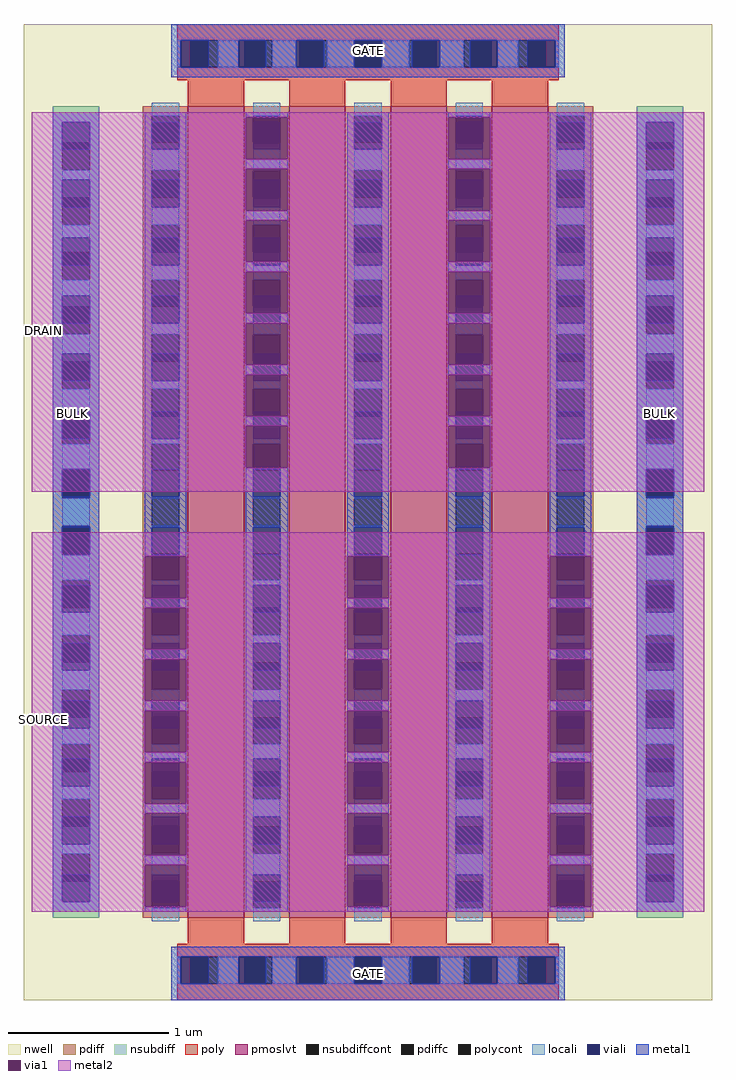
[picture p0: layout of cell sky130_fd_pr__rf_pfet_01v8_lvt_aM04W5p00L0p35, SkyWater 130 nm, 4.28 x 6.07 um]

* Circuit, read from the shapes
.subckt sky130_fd_pr__rf_pfet_01v8_lvt_aM04W5p00L0p35 BULK DRAIN GATE SOURCE
XM1 DRAIN GATE SOURCE BULK sky130_fd_pr__pfet_01v8_lvt w=5.05 l=0.35 m=4
.ends

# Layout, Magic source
magic
tech sky130A
magscale 1 2
<< nwell >>
rect 0 0 856 1214
<< pmoslvt >>
rect 204 102 274 1112
rect 330 102 400 1112
rect 456 102 526 1112
rect 582 102 652 1112
<< pdiff >>
rect 148 1100 204 1112
rect 148 1066 159 1100
rect 193 1066 204 1100
rect 148 1032 204 1066
rect 148 998 159 1032
rect 193 998 204 1032
rect 148 964 204 998
rect 148 930 159 964
rect 193 930 204 964
rect 148 896 204 930
rect 148 862 159 896
rect 193 862 204 896
rect 148 828 204 862
rect 148 794 159 828
rect 193 794 204 828
rect 148 760 204 794
rect 148 726 159 760
rect 193 726 204 760
rect 148 692 204 726
rect 148 658 159 692
rect 193 658 204 692
rect 148 624 204 658
rect 148 590 159 624
rect 193 590 204 624
rect 148 556 204 590
rect 148 522 159 556
rect 193 522 204 556
rect 148 488 204 522
rect 148 454 159 488
rect 193 454 204 488
rect 148 420 204 454
rect 148 386 159 420
rect 193 386 204 420
rect 148 352 204 386
rect 148 318 159 352
rect 193 318 204 352
rect 148 284 204 318
rect 148 250 159 284
rect 193 250 204 284
rect 148 216 204 250
rect 148 182 159 216
rect 193 182 204 216
rect 148 148 204 182
rect 148 114 159 148
rect 193 114 204 148
rect 148 102 204 114
rect 274 1100 330 1112
rect 274 1066 285 1100
rect 319 1066 330 1100
rect 274 1032 330 1066
rect 274 998 285 1032
rect 319 998 330 1032
rect 274 964 330 998
rect 274 930 285 964
rect 319 930 330 964
rect 274 896 330 930
rect 274 862 285 896
rect 319 862 330 896
rect 274 828 330 862
rect 274 794 285 828
rect 319 794 330 828
rect 274 760 330 794
rect 274 726 285 760
rect 319 726 330 760
rect 274 692 330 726
rect 274 658 285 692
rect 319 658 330 692
rect 274 624 330 658
rect 274 590 285 624
rect 319 590 330 624
rect 274 556 330 590
rect 274 522 285 556
rect 319 522 330 556
rect 274 488 330 522
rect 274 454 285 488
rect 319 454 330 488
rect 274 420 330 454
rect 274 386 285 420
rect 319 386 330 420
rect 274 352 330 386
rect 274 318 285 352
rect 319 318 330 352
rect 274 284 330 318
rect 274 250 285 284
rect 319 250 330 284
rect 274 216 330 250
rect 274 182 285 216
rect 319 182 330 216
rect 274 148 330 182
rect 274 114 285 148
rect 319 114 330 148
rect 274 102 330 114
rect 400 1100 456 1112
rect 400 1066 411 1100
rect 445 1066 456 1100
rect 400 1032 456 1066
rect 400 998 411 1032
rect 445 998 456 1032
rect 400 964 456 998
rect 400 930 411 964
rect 445 930 456 964
rect 400 896 456 930
rect 400 862 411 896
rect 445 862 456 896
rect 400 828 456 862
rect 400 794 411 828
rect 445 794 456 828
rect 400 760 456 794
rect 400 726 411 760
rect 445 726 456 760
rect 400 692 456 726
rect 400 658 411 692
rect 445 658 456 692
rect 400 624 456 658
rect 400 590 411 624
rect 445 590 456 624
rect 400 556 456 590
rect 400 522 411 556
rect 445 522 456 556
rect 400 488 456 522
rect 400 454 411 488
rect 445 454 456 488
rect 400 420 456 454
rect 400 386 411 420
rect 445 386 456 420
rect 400 352 456 386
rect 400 318 411 352
rect 445 318 456 352
rect 400 284 456 318
rect 400 250 411 284
rect 445 250 456 284
rect 400 216 456 250
rect 400 182 411 216
rect 445 182 456 216
rect 400 148 456 182
rect 400 114 411 148
rect 445 114 456 148
rect 400 102 456 114
rect 526 1100 582 1112
rect 526 1066 537 1100
rect 571 1066 582 1100
rect 526 1032 582 1066
rect 526 998 537 1032
rect 571 998 582 1032
rect 526 964 582 998
rect 526 930 537 964
rect 571 930 582 964
rect 526 896 582 930
rect 526 862 537 896
rect 571 862 582 896
rect 526 828 582 862
rect 526 794 537 828
rect 571 794 582 828
rect 526 760 582 794
rect 526 726 537 760
rect 571 726 582 760
rect 526 692 582 726
rect 526 658 537 692
rect 571 658 582 692
rect 526 624 582 658
rect 526 590 537 624
rect 571 590 582 624
rect 526 556 582 590
rect 526 522 537 556
rect 571 522 582 556
rect 526 488 582 522
rect 526 454 537 488
rect 571 454 582 488
rect 526 420 582 454
rect 526 386 537 420
rect 571 386 582 420
rect 526 352 582 386
rect 526 318 537 352
rect 571 318 582 352
rect 526 284 582 318
rect 526 250 537 284
rect 571 250 582 284
rect 526 216 582 250
rect 526 182 537 216
rect 571 182 582 216
rect 526 148 582 182
rect 526 114 537 148
rect 571 114 582 148
rect 526 102 582 114
rect 652 1100 708 1112
rect 652 1066 663 1100
rect 697 1066 708 1100
rect 652 1032 708 1066
rect 652 998 663 1032
rect 697 998 708 1032
rect 652 964 708 998
rect 652 930 663 964
rect 697 930 708 964
rect 652 896 708 930
rect 652 862 663 896
rect 697 862 708 896
rect 652 828 708 862
rect 652 794 663 828
rect 697 794 708 828
rect 652 760 708 794
rect 652 726 663 760
rect 697 726 708 760
rect 652 692 708 726
rect 652 658 663 692
rect 697 658 708 692
rect 652 624 708 658
rect 652 590 663 624
rect 697 590 708 624
rect 652 556 708 590
rect 652 522 663 556
rect 697 522 708 556
rect 652 488 708 522
rect 652 454 663 488
rect 697 454 708 488
rect 652 420 708 454
rect 652 386 663 420
rect 697 386 708 420
rect 652 352 708 386
rect 652 318 663 352
rect 697 318 708 352
rect 652 284 708 318
rect 652 250 663 284
rect 697 250 708 284
rect 652 216 708 250
rect 652 182 663 216
rect 697 182 708 216
rect 652 148 708 182
rect 652 114 663 148
rect 697 114 708 148
rect 652 102 708 114
<< pdiffc >>
rect 159 1066 193 1100
rect 159 998 193 1032
rect 159 930 193 964
rect 159 862 193 896
rect 159 794 193 828
rect 159 726 193 760
rect 159 658 193 692
rect 159 590 193 624
rect 159 522 193 556
rect 159 454 193 488
rect 159 386 193 420
rect 159 318 193 352
rect 159 250 193 284
rect 159 182 193 216
rect 159 114 193 148
rect 285 1066 319 1100
rect 285 998 319 1032
rect 285 930 319 964
rect 285 862 319 896
rect 285 794 319 828
rect 285 726 319 760
rect 285 658 319 692
rect 285 590 319 624
rect 285 522 319 556
rect 285 454 319 488
rect 285 386 319 420
rect 285 318 319 352
rect 285 250 319 284
rect 285 182 319 216
rect 285 114 319 148
rect 411 1066 445 1100
rect 411 998 445 1032
rect 411 930 445 964
rect 411 862 445 896
rect 411 794 445 828
rect 411 726 445 760
rect 411 658 445 692
rect 411 590 445 624
rect 411 522 445 556
rect 411 454 445 488
rect 411 386 445 420
rect 411 318 445 352
rect 411 250 445 284
rect 411 182 445 216
rect 411 114 445 148
rect 537 1066 571 1100
rect 537 998 571 1032
rect 537 930 571 964
rect 537 862 571 896
rect 537 794 571 828
rect 537 726 571 760
rect 537 658 571 692
rect 537 590 571 624
rect 537 522 571 556
rect 537 454 571 488
rect 537 386 571 420
rect 537 318 571 352
rect 537 250 571 284
rect 537 182 571 216
rect 537 114 571 148
rect 663 1066 697 1100
rect 663 998 697 1032
rect 663 930 697 964
rect 663 862 697 896
rect 663 794 697 828
rect 663 726 697 760
rect 663 658 697 692
rect 663 590 697 624
rect 663 522 697 556
rect 663 454 697 488
rect 663 386 697 420
rect 663 318 697 352
rect 663 250 697 284
rect 663 182 697 216
rect 663 114 697 148
<< nsubdiff >>
rect 36 1066 94 1112
rect 36 1032 48 1066
rect 82 1032 94 1066
rect 36 998 94 1032
rect 36 964 48 998
rect 82 964 94 998
rect 36 930 94 964
rect 36 896 48 930
rect 82 896 94 930
rect 36 862 94 896
rect 36 828 48 862
rect 82 828 94 862
rect 36 794 94 828
rect 36 760 48 794
rect 82 760 94 794
rect 36 726 94 760
rect 36 692 48 726
rect 82 692 94 726
rect 36 658 94 692
rect 36 624 48 658
rect 82 624 94 658
rect 36 590 94 624
rect 36 556 48 590
rect 82 556 94 590
rect 36 522 94 556
rect 36 488 48 522
rect 82 488 94 522
rect 36 454 94 488
rect 36 420 48 454
rect 82 420 94 454
rect 36 386 94 420
rect 36 352 48 386
rect 82 352 94 386
rect 36 318 94 352
rect 36 284 48 318
rect 82 284 94 318
rect 36 250 94 284
rect 36 216 48 250
rect 82 216 94 250
rect 36 182 94 216
rect 36 148 48 182
rect 82 148 94 182
rect 36 102 94 148
rect 762 1066 820 1112
rect 762 1032 774 1066
rect 808 1032 820 1066
rect 762 998 820 1032
rect 762 964 774 998
rect 808 964 820 998
rect 762 930 820 964
rect 762 896 774 930
rect 808 896 820 930
rect 762 862 820 896
rect 762 828 774 862
rect 808 828 820 862
rect 762 794 820 828
rect 762 760 774 794
rect 808 760 820 794
rect 762 726 820 760
rect 762 692 774 726
rect 808 692 820 726
rect 762 658 820 692
rect 762 624 774 658
rect 808 624 820 658
rect 762 590 820 624
rect 762 556 774 590
rect 808 556 820 590
rect 762 522 820 556
rect 762 488 774 522
rect 808 488 820 522
rect 762 454 820 488
rect 762 420 774 454
rect 808 420 820 454
rect 762 386 820 420
rect 762 352 774 386
rect 808 352 820 386
rect 762 318 820 352
rect 762 284 774 318
rect 808 284 820 318
rect 762 250 820 284
rect 762 216 774 250
rect 808 216 820 250
rect 762 182 820 216
rect 762 148 774 182
rect 808 148 820 182
rect 762 102 820 148
<< nsubdiffcont >>
rect 48 1032 82 1066
rect 48 964 82 998
rect 48 896 82 930
rect 48 828 82 862
rect 48 760 82 794
rect 48 692 82 726
rect 48 624 82 658
rect 48 556 82 590
rect 48 488 82 522
rect 48 420 82 454
rect 48 352 82 386
rect 48 284 82 318
rect 48 216 82 250
rect 48 148 82 182
rect 774 1032 808 1066
rect 774 964 808 998
rect 774 896 808 930
rect 774 828 808 862
rect 774 760 808 794
rect 774 692 808 726
rect 774 624 808 658
rect 774 556 808 590
rect 774 488 808 522
rect 774 420 808 454
rect 774 352 808 386
rect 774 284 808 318
rect 774 216 808 250
rect 774 148 808 182
<< poly >>
rect 191 1194 665 1214
rect 191 1160 207 1194
rect 241 1160 275 1194
rect 309 1160 343 1194
rect 377 1160 411 1194
rect 445 1160 479 1194
rect 513 1160 547 1194
rect 581 1160 615 1194
rect 649 1160 665 1194
rect 191 1144 665 1160
rect 204 1112 274 1144
rect 330 1112 400 1144
rect 456 1112 526 1144
rect 582 1112 652 1144
rect 204 70 274 102
rect 330 70 400 102
rect 456 70 526 102
rect 582 70 652 102
rect 191 54 665 70
rect 191 20 207 54
rect 241 20 275 54
rect 309 20 343 54
rect 377 20 411 54
rect 445 20 479 54
rect 513 20 547 54
rect 581 20 615 54
rect 649 20 665 54
rect 191 0 665 20
<< polycont >>
rect 207 1160 241 1194
rect 275 1160 309 1194
rect 343 1160 377 1194
rect 411 1160 445 1194
rect 479 1160 513 1194
rect 547 1160 581 1194
rect 615 1160 649 1194
rect 207 20 241 54
rect 275 20 309 54
rect 343 20 377 54
rect 411 20 445 54
rect 479 20 513 54
rect 547 20 581 54
rect 615 20 649 54
<< locali >>
rect 191 1160 195 1194
rect 241 1160 267 1194
rect 309 1160 339 1194
rect 377 1160 411 1194
rect 445 1160 479 1194
rect 517 1160 547 1194
rect 589 1160 615 1194
rect 661 1160 665 1194
rect 159 1100 193 1116
rect 48 1020 82 1032
rect 48 948 82 964
rect 48 876 82 896
rect 48 804 82 828
rect 48 732 82 760
rect 48 660 82 692
rect 48 590 82 624
rect 48 522 82 554
rect 48 454 82 482
rect 48 386 82 410
rect 48 318 82 338
rect 48 250 82 266
rect 48 182 82 194
rect 159 1032 193 1058
rect 159 964 193 986
rect 159 896 193 914
rect 159 828 193 842
rect 159 760 193 770
rect 159 692 193 698
rect 159 624 193 626
rect 159 588 193 590
rect 159 516 193 522
rect 159 444 193 454
rect 159 372 193 386
rect 159 300 193 318
rect 159 228 193 250
rect 159 156 193 182
rect 159 98 193 114
rect 285 1100 319 1116
rect 285 1032 319 1058
rect 285 964 319 986
rect 285 896 319 914
rect 285 828 319 842
rect 285 760 319 770
rect 285 692 319 698
rect 285 624 319 626
rect 285 588 319 590
rect 285 516 319 522
rect 285 444 319 454
rect 285 372 319 386
rect 285 300 319 318
rect 285 228 319 250
rect 285 156 319 182
rect 285 98 319 114
rect 411 1100 445 1116
rect 411 1032 445 1058
rect 411 964 445 986
rect 411 896 445 914
rect 411 828 445 842
rect 411 760 445 770
rect 411 692 445 698
rect 411 624 445 626
rect 411 588 445 590
rect 411 516 445 522
rect 411 444 445 454
rect 411 372 445 386
rect 411 300 445 318
rect 411 228 445 250
rect 411 156 445 182
rect 411 98 445 114
rect 537 1100 571 1116
rect 537 1032 571 1058
rect 537 964 571 986
rect 537 896 571 914
rect 537 828 571 842
rect 537 760 571 770
rect 537 692 571 698
rect 537 624 571 626
rect 537 588 571 590
rect 537 516 571 522
rect 537 444 571 454
rect 537 372 571 386
rect 537 300 571 318
rect 537 228 571 250
rect 537 156 571 182
rect 537 98 571 114
rect 663 1100 697 1116
rect 663 1032 697 1058
rect 663 964 697 986
rect 663 896 697 914
rect 663 828 697 842
rect 663 760 697 770
rect 663 692 697 698
rect 663 624 697 626
rect 663 588 697 590
rect 663 516 697 522
rect 663 444 697 454
rect 663 372 697 386
rect 663 300 697 318
rect 663 228 697 250
rect 663 156 697 182
rect 774 1020 808 1032
rect 774 948 808 964
rect 774 876 808 896
rect 774 804 808 828
rect 774 732 808 760
rect 774 660 808 692
rect 774 590 808 624
rect 774 522 808 554
rect 774 454 808 482
rect 774 386 808 410
rect 774 318 808 338
rect 774 250 808 266
rect 774 182 808 194
rect 663 98 697 114
rect 191 20 195 54
rect 241 20 267 54
rect 309 20 339 54
rect 377 20 411 54
rect 445 20 479 54
rect 517 20 547 54
rect 589 20 615 54
rect 661 20 665 54
<< viali >>
rect 195 1160 207 1194
rect 207 1160 229 1194
rect 267 1160 275 1194
rect 275 1160 301 1194
rect 339 1160 343 1194
rect 343 1160 373 1194
rect 411 1160 445 1194
rect 483 1160 513 1194
rect 513 1160 517 1194
rect 555 1160 581 1194
rect 581 1160 589 1194
rect 627 1160 649 1194
rect 649 1160 661 1194
rect 48 1066 82 1092
rect 48 1058 82 1066
rect 48 998 82 1020
rect 48 986 82 998
rect 48 930 82 948
rect 48 914 82 930
rect 48 862 82 876
rect 48 842 82 862
rect 48 794 82 804
rect 48 770 82 794
rect 48 726 82 732
rect 48 698 82 726
rect 48 658 82 660
rect 48 626 82 658
rect 48 556 82 588
rect 48 554 82 556
rect 48 488 82 516
rect 48 482 82 488
rect 48 420 82 444
rect 48 410 82 420
rect 48 352 82 372
rect 48 338 82 352
rect 48 284 82 300
rect 48 266 82 284
rect 48 216 82 228
rect 48 194 82 216
rect 48 148 82 156
rect 48 122 82 148
rect 159 1066 193 1092
rect 159 1058 193 1066
rect 159 998 193 1020
rect 159 986 193 998
rect 159 930 193 948
rect 159 914 193 930
rect 159 862 193 876
rect 159 842 193 862
rect 159 794 193 804
rect 159 770 193 794
rect 159 726 193 732
rect 159 698 193 726
rect 159 658 193 660
rect 159 626 193 658
rect 159 556 193 588
rect 159 554 193 556
rect 159 488 193 516
rect 159 482 193 488
rect 159 420 193 444
rect 159 410 193 420
rect 159 352 193 372
rect 159 338 193 352
rect 159 284 193 300
rect 159 266 193 284
rect 159 216 193 228
rect 159 194 193 216
rect 159 148 193 156
rect 159 122 193 148
rect 285 1066 319 1092
rect 285 1058 319 1066
rect 285 998 319 1020
rect 285 986 319 998
rect 285 930 319 948
rect 285 914 319 930
rect 285 862 319 876
rect 285 842 319 862
rect 285 794 319 804
rect 285 770 319 794
rect 285 726 319 732
rect 285 698 319 726
rect 285 658 319 660
rect 285 626 319 658
rect 285 556 319 588
rect 285 554 319 556
rect 285 488 319 516
rect 285 482 319 488
rect 285 420 319 444
rect 285 410 319 420
rect 285 352 319 372
rect 285 338 319 352
rect 285 284 319 300
rect 285 266 319 284
rect 285 216 319 228
rect 285 194 319 216
rect 285 148 319 156
rect 285 122 319 148
rect 411 1066 445 1092
rect 411 1058 445 1066
rect 411 998 445 1020
rect 411 986 445 998
rect 411 930 445 948
rect 411 914 445 930
rect 411 862 445 876
rect 411 842 445 862
rect 411 794 445 804
rect 411 770 445 794
rect 411 726 445 732
rect 411 698 445 726
rect 411 658 445 660
rect 411 626 445 658
rect 411 556 445 588
rect 411 554 445 556
rect 411 488 445 516
rect 411 482 445 488
rect 411 420 445 444
rect 411 410 445 420
rect 411 352 445 372
rect 411 338 445 352
rect 411 284 445 300
rect 411 266 445 284
rect 411 216 445 228
rect 411 194 445 216
rect 411 148 445 156
rect 411 122 445 148
rect 537 1066 571 1092
rect 537 1058 571 1066
rect 537 998 571 1020
rect 537 986 571 998
rect 537 930 571 948
rect 537 914 571 930
rect 537 862 571 876
rect 537 842 571 862
rect 537 794 571 804
rect 537 770 571 794
rect 537 726 571 732
rect 537 698 571 726
rect 537 658 571 660
rect 537 626 571 658
rect 537 556 571 588
rect 537 554 571 556
rect 537 488 571 516
rect 537 482 571 488
rect 537 420 571 444
rect 537 410 571 420
rect 537 352 571 372
rect 537 338 571 352
rect 537 284 571 300
rect 537 266 571 284
rect 537 216 571 228
rect 537 194 571 216
rect 537 148 571 156
rect 537 122 571 148
rect 663 1066 697 1092
rect 663 1058 697 1066
rect 663 998 697 1020
rect 663 986 697 998
rect 663 930 697 948
rect 663 914 697 930
rect 663 862 697 876
rect 663 842 697 862
rect 663 794 697 804
rect 663 770 697 794
rect 663 726 697 732
rect 663 698 697 726
rect 663 658 697 660
rect 663 626 697 658
rect 663 556 697 588
rect 663 554 697 556
rect 663 488 697 516
rect 663 482 697 488
rect 663 420 697 444
rect 663 410 697 420
rect 663 352 697 372
rect 663 338 697 352
rect 663 284 697 300
rect 663 266 697 284
rect 663 216 697 228
rect 663 194 697 216
rect 663 148 697 156
rect 663 122 697 148
rect 774 1066 808 1092
rect 774 1058 808 1066
rect 774 998 808 1020
rect 774 986 808 998
rect 774 930 808 948
rect 774 914 808 930
rect 774 862 808 876
rect 774 842 808 862
rect 774 794 808 804
rect 774 770 808 794
rect 774 726 808 732
rect 774 698 808 726
rect 774 658 808 660
rect 774 626 808 658
rect 774 556 808 588
rect 774 554 808 556
rect 774 488 808 516
rect 774 482 808 488
rect 774 420 808 444
rect 774 410 808 420
rect 774 352 808 372
rect 774 338 808 352
rect 774 284 808 300
rect 774 266 808 284
rect 774 216 808 228
rect 774 194 808 216
rect 774 148 808 156
rect 774 122 808 148
rect 195 20 207 54
rect 207 20 229 54
rect 267 20 275 54
rect 275 20 301 54
rect 339 20 343 54
rect 343 20 373 54
rect 411 20 445 54
rect 483 20 513 54
rect 513 20 517 54
rect 555 20 581 54
rect 581 20 589 54
rect 627 20 649 54
rect 649 20 661 54
<< metal1 >>
rect 183 1194 673 1214
rect 183 1160 195 1194
rect 229 1160 267 1194
rect 301 1160 339 1194
rect 373 1160 411 1194
rect 445 1160 483 1194
rect 517 1160 555 1194
rect 589 1160 627 1194
rect 661 1160 673 1194
rect 183 1148 673 1160
rect 36 1092 94 1104
rect 36 1058 48 1092
rect 82 1058 94 1092
rect 36 1020 94 1058
rect 36 986 48 1020
rect 82 986 94 1020
rect 36 948 94 986
rect 36 914 48 948
rect 82 914 94 948
rect 36 876 94 914
rect 36 842 48 876
rect 82 842 94 876
rect 36 804 94 842
rect 36 770 48 804
rect 82 770 94 804
rect 36 732 94 770
rect 36 698 48 732
rect 82 698 94 732
rect 36 660 94 698
rect 36 626 48 660
rect 82 626 94 660
rect 36 588 94 626
rect 36 554 48 588
rect 82 554 94 588
rect 36 516 94 554
rect 36 482 48 516
rect 82 482 94 516
rect 36 444 94 482
rect 36 410 48 444
rect 82 410 94 444
rect 36 372 94 410
rect 36 338 48 372
rect 82 338 94 372
rect 36 300 94 338
rect 36 266 48 300
rect 82 266 94 300
rect 36 228 94 266
rect 36 194 48 228
rect 82 194 94 228
rect 36 156 94 194
rect 36 122 48 156
rect 82 122 94 156
rect 36 110 94 122
rect 150 1092 202 1104
rect 150 1058 159 1092
rect 193 1058 202 1092
rect 150 1020 202 1058
rect 150 986 159 1020
rect 193 986 202 1020
rect 150 948 202 986
rect 150 914 159 948
rect 193 914 202 948
rect 150 876 202 914
rect 150 842 159 876
rect 193 842 202 876
rect 150 804 202 842
rect 150 770 159 804
rect 193 770 202 804
rect 150 732 202 770
rect 150 698 159 732
rect 193 698 202 732
rect 150 660 202 698
rect 150 626 159 660
rect 193 626 202 660
rect 150 588 202 626
rect 150 554 159 588
rect 193 554 202 588
rect 150 552 202 554
rect 150 488 159 500
rect 193 488 202 500
rect 150 424 159 436
rect 193 424 202 436
rect 150 360 159 372
rect 193 360 202 372
rect 150 300 202 308
rect 150 296 159 300
rect 193 296 202 300
rect 150 232 202 244
rect 150 168 202 180
rect 150 110 202 116
rect 276 1098 328 1104
rect 276 1034 328 1046
rect 276 970 328 982
rect 276 914 285 918
rect 319 914 328 918
rect 276 906 328 914
rect 276 842 285 854
rect 319 842 328 854
rect 276 778 285 790
rect 319 778 328 790
rect 276 714 285 726
rect 319 714 328 726
rect 276 660 328 662
rect 276 626 285 660
rect 319 626 328 660
rect 276 588 328 626
rect 276 554 285 588
rect 319 554 328 588
rect 276 516 328 554
rect 276 482 285 516
rect 319 482 328 516
rect 276 444 328 482
rect 276 410 285 444
rect 319 410 328 444
rect 276 372 328 410
rect 276 338 285 372
rect 319 338 328 372
rect 276 300 328 338
rect 276 266 285 300
rect 319 266 328 300
rect 276 228 328 266
rect 276 194 285 228
rect 319 194 328 228
rect 276 156 328 194
rect 276 122 285 156
rect 319 122 328 156
rect 276 110 328 122
rect 402 1092 454 1104
rect 402 1058 411 1092
rect 445 1058 454 1092
rect 402 1020 454 1058
rect 402 986 411 1020
rect 445 986 454 1020
rect 402 948 454 986
rect 402 914 411 948
rect 445 914 454 948
rect 402 876 454 914
rect 402 842 411 876
rect 445 842 454 876
rect 402 804 454 842
rect 402 770 411 804
rect 445 770 454 804
rect 402 732 454 770
rect 402 698 411 732
rect 445 698 454 732
rect 402 660 454 698
rect 402 626 411 660
rect 445 626 454 660
rect 402 588 454 626
rect 402 554 411 588
rect 445 554 454 588
rect 402 552 454 554
rect 402 488 411 500
rect 445 488 454 500
rect 402 424 411 436
rect 445 424 454 436
rect 402 360 411 372
rect 445 360 454 372
rect 402 300 454 308
rect 402 296 411 300
rect 445 296 454 300
rect 402 232 454 244
rect 402 168 454 180
rect 402 110 454 116
rect 528 1098 580 1104
rect 528 1034 580 1046
rect 528 970 580 982
rect 528 914 537 918
rect 571 914 580 918
rect 528 906 580 914
rect 528 842 537 854
rect 571 842 580 854
rect 528 778 537 790
rect 571 778 580 790
rect 528 714 537 726
rect 571 714 580 726
rect 528 660 580 662
rect 528 626 537 660
rect 571 626 580 660
rect 528 588 580 626
rect 528 554 537 588
rect 571 554 580 588
rect 528 516 580 554
rect 528 482 537 516
rect 571 482 580 516
rect 528 444 580 482
rect 528 410 537 444
rect 571 410 580 444
rect 528 372 580 410
rect 528 338 537 372
rect 571 338 580 372
rect 528 300 580 338
rect 528 266 537 300
rect 571 266 580 300
rect 528 228 580 266
rect 528 194 537 228
rect 571 194 580 228
rect 528 156 580 194
rect 528 122 537 156
rect 571 122 580 156
rect 528 110 580 122
rect 654 1092 706 1104
rect 654 1058 663 1092
rect 697 1058 706 1092
rect 654 1020 706 1058
rect 654 986 663 1020
rect 697 986 706 1020
rect 654 948 706 986
rect 654 914 663 948
rect 697 914 706 948
rect 654 876 706 914
rect 654 842 663 876
rect 697 842 706 876
rect 654 804 706 842
rect 654 770 663 804
rect 697 770 706 804
rect 654 732 706 770
rect 654 698 663 732
rect 697 698 706 732
rect 654 660 706 698
rect 654 626 663 660
rect 697 626 706 660
rect 654 588 706 626
rect 654 554 663 588
rect 697 554 706 588
rect 654 552 706 554
rect 654 488 663 500
rect 697 488 706 500
rect 654 424 663 436
rect 697 424 706 436
rect 654 360 663 372
rect 697 360 706 372
rect 654 300 706 308
rect 654 296 663 300
rect 697 296 706 300
rect 654 232 706 244
rect 654 168 706 180
rect 654 110 706 116
rect 762 1092 820 1104
rect 762 1058 774 1092
rect 808 1058 820 1092
rect 762 1020 820 1058
rect 762 986 774 1020
rect 808 986 820 1020
rect 762 948 820 986
rect 762 914 774 948
rect 808 914 820 948
rect 762 876 820 914
rect 762 842 774 876
rect 808 842 820 876
rect 762 804 820 842
rect 762 770 774 804
rect 808 770 820 804
rect 762 732 820 770
rect 762 698 774 732
rect 808 698 820 732
rect 762 660 820 698
rect 762 626 774 660
rect 808 626 820 660
rect 762 588 820 626
rect 762 554 774 588
rect 808 554 820 588
rect 762 516 820 554
rect 762 482 774 516
rect 808 482 820 516
rect 762 444 820 482
rect 762 410 774 444
rect 808 410 820 444
rect 762 372 820 410
rect 762 338 774 372
rect 808 338 820 372
rect 762 300 820 338
rect 762 266 774 300
rect 808 266 820 300
rect 762 228 820 266
rect 762 194 774 228
rect 808 194 820 228
rect 762 156 820 194
rect 762 122 774 156
rect 808 122 820 156
rect 762 110 820 122
rect 183 54 673 66
rect 183 20 195 54
rect 229 20 267 54
rect 301 20 339 54
rect 373 20 411 54
rect 445 20 483 54
rect 517 20 555 54
rect 589 20 627 54
rect 661 20 673 54
rect 183 0 673 20
<< via1 >>
rect 150 516 202 552
rect 150 500 159 516
rect 159 500 193 516
rect 193 500 202 516
rect 150 482 159 488
rect 159 482 193 488
rect 193 482 202 488
rect 150 444 202 482
rect 150 436 159 444
rect 159 436 193 444
rect 193 436 202 444
rect 150 410 159 424
rect 159 410 193 424
rect 193 410 202 424
rect 150 372 202 410
rect 150 338 159 360
rect 159 338 193 360
rect 193 338 202 360
rect 150 308 202 338
rect 150 266 159 296
rect 159 266 193 296
rect 193 266 202 296
rect 150 244 202 266
rect 150 228 202 232
rect 150 194 159 228
rect 159 194 193 228
rect 193 194 202 228
rect 150 180 202 194
rect 150 156 202 168
rect 150 122 159 156
rect 159 122 193 156
rect 193 122 202 156
rect 150 116 202 122
rect 276 1092 328 1098
rect 276 1058 285 1092
rect 285 1058 319 1092
rect 319 1058 328 1092
rect 276 1046 328 1058
rect 276 1020 328 1034
rect 276 986 285 1020
rect 285 986 319 1020
rect 319 986 328 1020
rect 276 982 328 986
rect 276 948 328 970
rect 276 918 285 948
rect 285 918 319 948
rect 319 918 328 948
rect 276 876 328 906
rect 276 854 285 876
rect 285 854 319 876
rect 319 854 328 876
rect 276 804 328 842
rect 276 790 285 804
rect 285 790 319 804
rect 319 790 328 804
rect 276 770 285 778
rect 285 770 319 778
rect 319 770 328 778
rect 276 732 328 770
rect 276 726 285 732
rect 285 726 319 732
rect 319 726 328 732
rect 276 698 285 714
rect 285 698 319 714
rect 319 698 328 714
rect 276 662 328 698
rect 402 516 454 552
rect 402 500 411 516
rect 411 500 445 516
rect 445 500 454 516
rect 402 482 411 488
rect 411 482 445 488
rect 445 482 454 488
rect 402 444 454 482
rect 402 436 411 444
rect 411 436 445 444
rect 445 436 454 444
rect 402 410 411 424
rect 411 410 445 424
rect 445 410 454 424
rect 402 372 454 410
rect 402 338 411 360
rect 411 338 445 360
rect 445 338 454 360
rect 402 308 454 338
rect 402 266 411 296
rect 411 266 445 296
rect 445 266 454 296
rect 402 244 454 266
rect 402 228 454 232
rect 402 194 411 228
rect 411 194 445 228
rect 445 194 454 228
rect 402 180 454 194
rect 402 156 454 168
rect 402 122 411 156
rect 411 122 445 156
rect 445 122 454 156
rect 402 116 454 122
rect 528 1092 580 1098
rect 528 1058 537 1092
rect 537 1058 571 1092
rect 571 1058 580 1092
rect 528 1046 580 1058
rect 528 1020 580 1034
rect 528 986 537 1020
rect 537 986 571 1020
rect 571 986 580 1020
rect 528 982 580 986
rect 528 948 580 970
rect 528 918 537 948
rect 537 918 571 948
rect 571 918 580 948
rect 528 876 580 906
rect 528 854 537 876
rect 537 854 571 876
rect 571 854 580 876
rect 528 804 580 842
rect 528 790 537 804
rect 537 790 571 804
rect 571 790 580 804
rect 528 770 537 778
rect 537 770 571 778
rect 571 770 580 778
rect 528 732 580 770
rect 528 726 537 732
rect 537 726 571 732
rect 571 726 580 732
rect 528 698 537 714
rect 537 698 571 714
rect 571 698 580 714
rect 528 662 580 698
rect 654 516 706 552
rect 654 500 663 516
rect 663 500 697 516
rect 697 500 706 516
rect 654 482 663 488
rect 663 482 697 488
rect 697 482 706 488
rect 654 444 706 482
rect 654 436 663 444
rect 663 436 697 444
rect 697 436 706 444
rect 654 410 663 424
rect 663 410 697 424
rect 697 410 706 424
rect 654 372 706 410
rect 654 338 663 360
rect 663 338 697 360
rect 697 338 706 360
rect 654 308 706 338
rect 654 266 663 296
rect 663 266 697 296
rect 697 266 706 296
rect 654 244 706 266
rect 654 228 706 232
rect 654 194 663 228
rect 663 194 697 228
rect 697 194 706 228
rect 654 180 706 194
rect 654 156 706 168
rect 654 122 663 156
rect 663 122 697 156
rect 697 122 706 156
rect 654 116 706 122
<< metal2 >>
rect 10 1098 846 1104
rect 10 1046 276 1098
rect 328 1046 528 1098
rect 580 1046 846 1098
rect 10 1034 846 1046
rect 10 982 276 1034
rect 328 982 528 1034
rect 580 982 846 1034
rect 10 970 846 982
rect 10 918 276 970
rect 328 918 528 970
rect 580 918 846 970
rect 10 906 846 918
rect 10 854 276 906
rect 328 854 528 906
rect 580 854 846 906
rect 10 842 846 854
rect 10 790 276 842
rect 328 790 528 842
rect 580 790 846 842
rect 10 778 846 790
rect 10 726 276 778
rect 328 726 528 778
rect 580 726 846 778
rect 10 714 846 726
rect 10 662 276 714
rect 328 662 528 714
rect 580 662 846 714
rect 10 632 846 662
rect 10 552 846 582
rect 10 500 150 552
rect 202 500 402 552
rect 454 500 654 552
rect 706 500 846 552
rect 10 488 846 500
rect 10 436 150 488
rect 202 436 402 488
rect 454 436 654 488
rect 706 436 846 488
rect 10 424 846 436
rect 10 372 150 424
rect 202 372 402 424
rect 454 372 654 424
rect 706 372 846 424
rect 10 360 846 372
rect 10 308 150 360
rect 202 308 402 360
rect 454 308 654 360
rect 706 308 846 360
rect 10 296 846 308
rect 10 244 150 296
rect 202 244 402 296
rect 454 244 654 296
rect 706 244 846 296
rect 10 232 846 244
rect 10 180 150 232
rect 202 180 402 232
rect 454 180 654 232
rect 706 180 846 232
rect 10 168 846 180
rect 10 116 150 168
rect 202 116 402 168
rect 454 116 654 168
rect 706 116 846 168
rect 10 110 846 116
<< labels >>
flabel metal2 s 15 798 34 868 0 FreeSans 400 90 0 0 DRAIN
port 2 nsew
flabel metal2 s 14 317 35 381 0 FreeSans 400 90 0 0 SOURCE
port 4 nsew
flabel metal1 s 60 730 60 730 7 FreeSans 400 90 0 0 BULK
port 1 nsew
flabel metal1 s 790 730 790 730 7 FreeSans 400 90 0 0 BULK
port 1 nsew
flabel metal1 s 183 1148 673 1214 0 FreeSans 300 0 0 0 GATE
port 3 nsew
flabel metal1 s 183 0 673 66 0 FreeSans 300 0 0 0 GATE
port 3 nsew
<< properties >>
string GDS_FILE $PDKPATH/libs.ref/sky130_fd_pr/gds/sky130_fd_pr.gds
string GDS_END 10043164
string GDS_START 10021196
<< end >>
